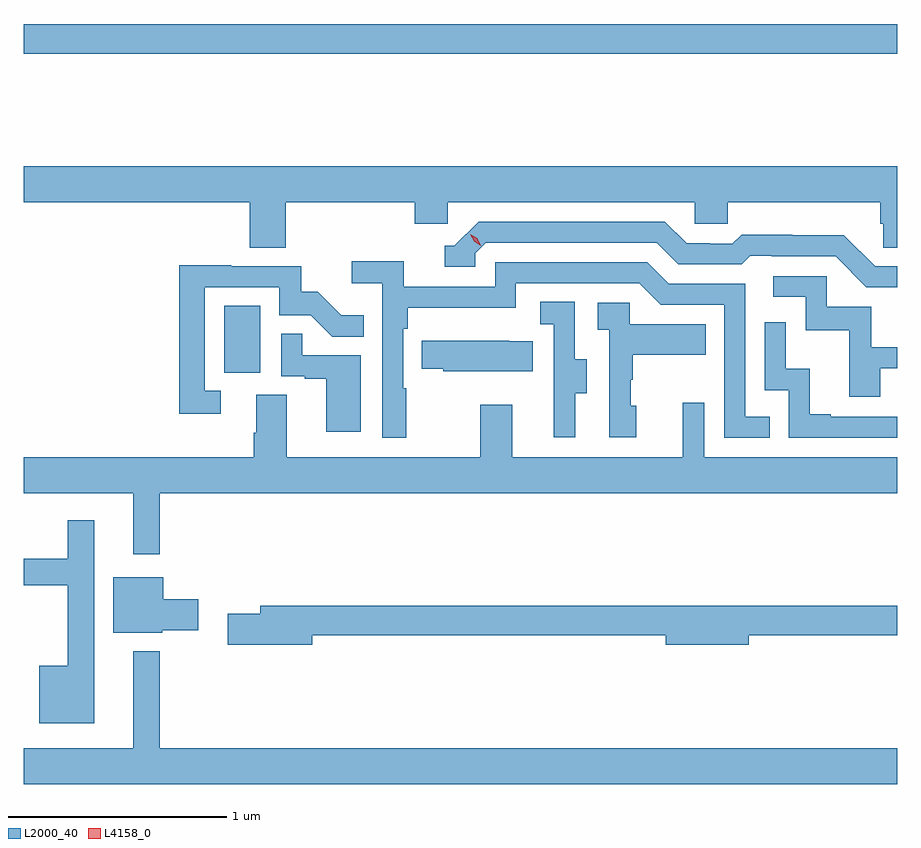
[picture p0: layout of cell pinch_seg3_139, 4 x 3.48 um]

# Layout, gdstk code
import gdstk
lib = gdstk.Library(unit=1e-6, precision=1e-09)
def R(c, l, rs):  # rectangles x0, y0, x1, y1
    for r in rs: c.add(gdstk.rectangle(r[:2], r[2:], *l))
def P(c, l, *ps):  # polygons
    for p in ps: c.add(gdstk.Polygon(p, *l))
L2000_40 = (2000, 40)
L4158_0 = (4158, 0)

pinch_seg3_139 = lib.new_cell('pinch_seg3_139')
R(pinch_seg3_139, L2000_40, [(1113.482,726.774,1113.646,727.081), (1112.564,728.236,1116.564,728.372)])
P(pinch_seg3_139, L2000_40, [(1113.764,727.556),(1114.355,727.556),(1114.355,727.458),(1114.506,727.458),(1114.506,727.556),(1115.637,727.556),(1115.637,727.458),(1115.787,727.458),(1115.787,727.556),(1116.485,727.556),(1116.485,727.458),(1116.499,727.458),(1116.499,727.348),(1116.564,727.348),(1116.564,727.72),(1112.564,727.72),(1112.564,727.556),(1113.599,727.556),(1113.599,727.348),(1113.764,727.348)],
  [(1116.564,727.263),(1116.462,727.263),(1116.32,727.405),(1116.084,727.405),(1116.084,727.408),(1115.851,727.408),(1115.809,727.365),(1115.706,727.365),(1115.706,727.368),(1115.599,727.368),(1115.5,727.467),(1114.647,727.467),(1114.536,727.356),(1114.493,727.356),(1114.493,727.26),(1114.632,727.26),(1114.632,727.323),(1114.68,727.371),(1115.463,727.371),(1115.562,727.272),(1115.851,727.272),(1115.89,727.311),(1115.989,727.311),(1115.989,727.308),(1116.282,727.308),(1116.423,727.167),(1116.564,727.167)],
  [(1114.315,726.704),(1114.302,726.704),(1114.302,726.977),(1114.322,726.977),(1114.322,727.073),(1114.818,727.073),(1114.818,727.185),(1115.382,727.185),(1115.481,727.086),(1115.772,727.086),(1115.772,726.477),(1115.981,726.477),(1115.981,726.573),(1115.868,726.573),(1115.868,727.182),(1115.518,727.182),(1115.419,727.281),(1114.722,727.281),(1114.722,727.17),(1114.304,727.17),(1114.304,727.286),(1114.065,727.286),(1114.065,727.184),(1114.206,727.184),(1114.206,726.477),(1114.315,726.477)],
  [(1113.466,726.693),(1113.393,726.693),(1113.393,727.167),(1113.735,727.167),(1113.735,727.038),(1113.879,727.038),(1113.977,726.94),(1114.121,726.94),(1114.121,727.039),(1114.017,727.039),(1113.91,727.146),(1113.834,727.146),(1113.834,727.263),(1113.515,727.263),(1113.515,727.268),(1113.277,727.268),(1113.277,726.588),(1113.466,726.588)],
  [(1116.487,726.795),(1116.564,726.795),(1116.564,726.891),(1116.445,726.891),(1116.445,727.077),(1116.24,727.077),(1116.24,727.218),(1115.997,727.218),(1115.997,727.122),(1116.144,727.122),(1116.144,726.969),(1116.343,726.969),(1116.343,726.666),(1116.487,726.666)],
  [(1115.089,726.682),(1115.143,726.682),(1115.143,726.837),(1115.088,726.837),(1115.088,727.1),(1114.929,727.1),(1114.929,726.997),(1114.992,726.997),(1114.992,726.693),(1114.991,726.693),(1114.991,726.48),(1115.089,726.48)],
  [(1115.368,726.624),(1115.343,726.624),(1115.343,726.743),(1115.353,726.743),(1115.353,726.857),(1115.687,726.857),(1115.687,726.997),(1115.34,726.997),(1115.34,727.095),(1115.193,727.095),(1115.193,726.971),(1115.244,726.971),(1115.244,726.48),(1115.368,726.48)],
  [(1116.564,726.573),(1116.259,726.573),(1116.259,726.586),(1116.164,726.586),(1116.164,726.794),(1116.054,726.794),(1116.054,727.006),(1115.958,727.006),(1115.958,726.696),(1116.066,726.696),(1116.066,726.477),(1116.564,726.477)],
  [(1114.108,726.855),(1113.839,726.855),(1113.839,726.953),(1113.744,726.953),(1113.744,726.759),(1113.851,726.759),(1113.851,726.747),(1113.95,726.747),(1113.95,726.504),(1114.108,726.504)],
  [(1114.895,726.919),(1114.787,726.919),(1114.787,726.922),(1114.387,726.922),(1114.387,726.793),(1114.485,726.793),(1114.485,726.782),(1114.895,726.782)],
  [(1113.187,726.224),(1116.564,726.224),(1116.564,726.388),(1115.679,726.388),(1115.679,726.637),(1115.582,726.637),(1115.582,726.388),(1114.801,726.388),(1114.801,726.628),(1114.654,726.628),(1114.654,726.388),(1113.769,726.388),(1113.769,726.674),(1113.629,726.674),(1113.629,726.5),(1113.617,726.5),(1113.617,726.388),(1112.564,726.388),(1112.564,726.224),(1113.065,726.224),(1113.065,725.943),(1113.187,725.943)],
  [(1112.887,726.1),(1112.766,726.1),(1112.766,725.923),(1112.564,725.923),(1112.564,725.802),(1112.766,725.802),(1112.766,725.434),(1112.636,725.434),(1112.636,725.171),(1112.887,725.171)],
  [(1113.198,725.597),(1113.364,725.597),(1113.364,725.739),(1113.202,725.739),(1113.202,725.839),(1112.975,725.839),(1112.975,725.585),(1113.198,725.585)],
  [(1113.886,725.572),(1115.504,725.572),(1115.504,725.53),(1115.884,725.53),(1115.884,725.572),(1116.564,725.572),(1116.564,725.708),(1113.647,725.708),(1113.647,725.672),(1113.498,725.672),(1113.498,725.53),(1113.886,725.53)],
  [(1116.564,725.056),(1113.187,725.056),(1113.187,725.5),(1113.065,725.5),(1113.065,725.056),(1112.564,725.056),(1112.564,724.892),(1116.564,724.892)])
P(pinch_seg3_139, L4158_0, [(1114.656,727.357),(1114.626,727.377),(1114.609,727.409),(1114.609,727.41),(1114.609,727.41),(1114.64,727.39),(1114.657,727.358),(1114.657,727.357)])

lib.write_gds('pinch_seg3_139.gds')
